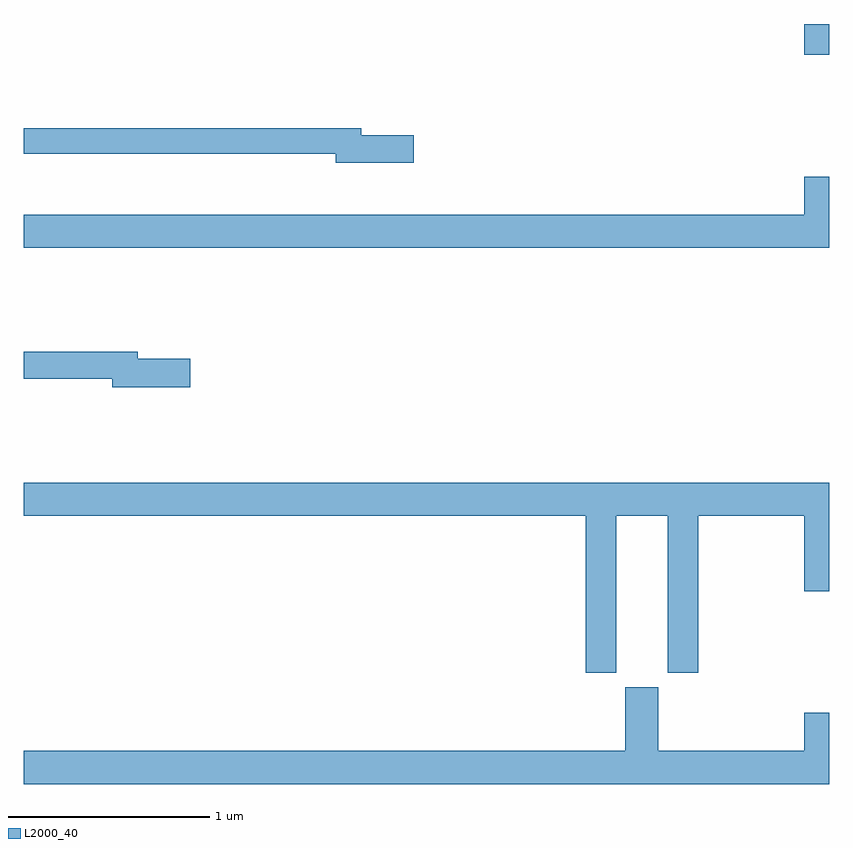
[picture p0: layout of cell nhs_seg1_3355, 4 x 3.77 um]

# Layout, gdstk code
import gdstk
lib = gdstk.Library(unit=1e-6, precision=1e-09)
def R(c, l, rs):  # rectangles x0, y0, x1, y1
    for r in rs: c.add(gdstk.rectangle(r[:2], r[2:], *l))
def P(c, l, *ps):  # polygons
    for p in ps: c.add(gdstk.Polygon(p, *l))
L2000_40 = (2000, 40)

nhs_seg1_3355 = lib.new_cell('nhs_seg1_3355')
R(nhs_seg1_3355, L2000_40, [(296.876,530.046,297,530.199)])
P(nhs_seg1_3355, L2000_40, [(294.937,529.646),(294.676,529.646),(294.676,529.682),(293,529.682),(293,529.554),(294.548,529.554),(294.548,529.511),(294.937,529.511)],
  [(297,529.441),(296.876,529.441),(296.876,529.252),(293,529.252),(293,529.088),(297,529.088)],
  [(293.827,528.536),(293.566,528.536),(293.566,528.572),(293,528.572),(293,528.436),(293.438,528.436),(293.438,528.394),(293.827,528.394)],
  [(295.942,527.756),(296.198,527.756),(296.198,526.977),(296.351,526.977),(296.351,527.756),(296.876,527.756),(296.876,527.382),(297,527.382),(297,527.92),(293,527.92),(293,527.756),(295.79,527.756),(295.79,526.977),(295.942,526.977)],
  [(297,526.777),(296.876,526.777),(296.876,526.588),(296.152,526.588),(296.152,526.905),(295.988,526.905),(295.988,526.588),(293,526.588),(293,526.424),(297,526.424)])

lib.write_gds('nhs_seg1_3355.gds')
